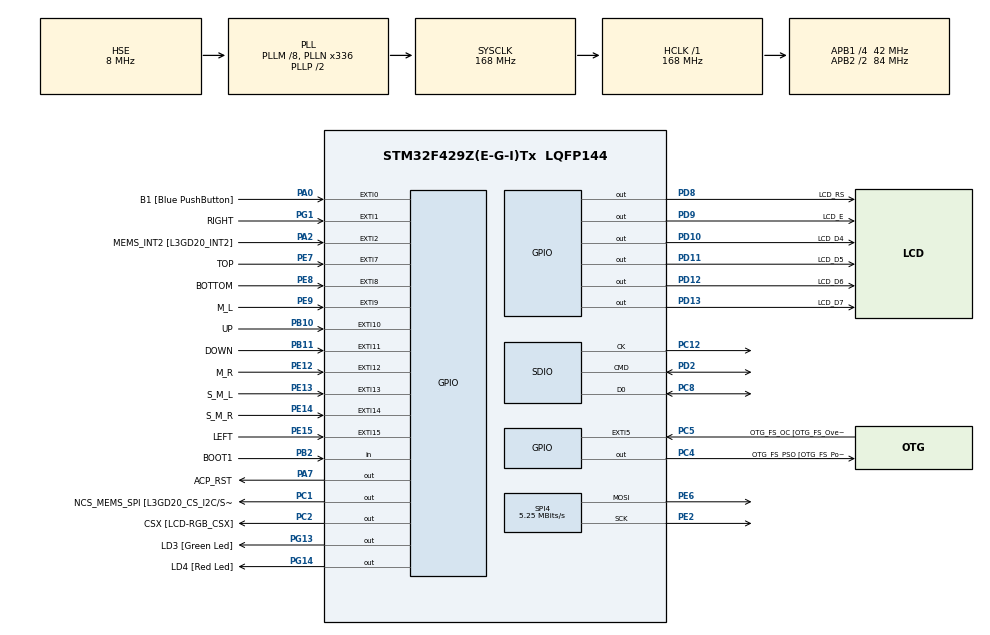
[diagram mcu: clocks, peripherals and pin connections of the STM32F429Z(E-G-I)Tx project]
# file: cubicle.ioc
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FREERTOS.Tasks01=defaultTask,0,128,StartDefaultTask;myTask02,2,128,StartTask02
Mcu.Family=STM32F4
Mcu.Name=STM32F429Z(E-G-I)Tx
Mcu.Package=LQFP144
NVIC.EXTI0_IRQn=true\:5\:0\:false
NVIC.EXTI15_10_IRQn=true\:5\:0\:false
NVIC.EXTI1_IRQn=true\:5\:0\:false
NVIC.EXTI9_5_IRQn=true\:5\:0\:false
NVIC.PriorityGroup=NVIC_PRIORITYGROUP_4
PA0/WKUP.GPIO_Label=B1 [Blue PushButton]
PA0/WKUP.GPIO_ModeDefaultEXTI=GPIO_MODE_IT_RISING_FALLING
PA0/WKUP.GPIO_PuPd=GPIO_NOPULL
PA0/WKUP.Signal=GPXTI0
PA11.GPIO_Label=R4
PA11.GPIO_Mode=GPIO_MODE_AF_PP
PA11.GPIO_PuPd=GPIO_NOPULL
PA11.GPIO_Speed=GPIO_SPEED_LOW
PA11.Signal=LTDC_R4
PA12.GPIO_Label=R5
PA12.GPIO_Mode=GPIO_MODE_AF_PP
PA12.GPIO_PuPd=GPIO_NOPULL
PA12.GPIO_Speed=GPIO_SPEED_LOW
PA12.Signal=LTDC_R5
PA13.GPIO_Label=SWDIO
PA13.Mode=Serial-Wire
PA13.Signal=SYS_JTMS-SWDIO
PA14.GPIO_Label=SWCLK
PA14.Mode=Serial-Wire
PA14.Signal=SYS_JTCK-SWCLK
PA2.GPIO_Label=MEMS_INT2 [L3GD20_INT2]
PA2.GPIO_ModeDefaultEXTI=GPIO_MODE_EVT_RISING
PA2.GPIO_PuPd=GPIO_NOPULL
PA2.Signal=GPXTI2
PA3.GPIO_Label=B5
PA3.GPIO_Mode=GPIO_MODE_AF_PP
PA3.GPIO_PuPd=GPIO_NOPULL
PA3.GPIO_Speed=GPIO_SPEED_LOW
PA3.Signal=LTDC_B5
PA4.GPIO_Label=VSYNC
PA4.GPIO_Mode=GPIO_MODE_AF_PP
PA4.GPIO_PuPd=GPIO_NOPULL
PA4.GPIO_Speed=GPIO_SPEED_LOW
PA4.Signal=LTDC_VSYNC
PA6.GPIO_Label=G2
PA6.GPIO_Mode=GPIO_MODE_AF_PP
PA6.GPIO_PuPd=GPIO_NOPULL
PA6.GPIO_Speed=GPIO_SPEED_LOW
PA6.Signal=LTDC_G2
PA7.GPIO_Label=ACP_RST
PA7.GPIO_Mode=GPIO_MODE_OUTPUT_PP
PA7.GPIO_ModeDefaultOutputPP=GPIO_MODE_OUTPUT_PP
PA7.GPIO_PuPd=GPIO_NOPULL
PA7.GPIO_Speed=GPIO_SPEED_LOW
PA7.Signal=GPIO_Output
PA8.GPIO_Label=I2C3_SCL [ACP/RF_SCL]
PA8.GPIO_Mode=GPIO_MODE_AF_OD
PA8.GPIO_PuPd=GPIO_NOPULL
PA8.GPIO_PuPdOD=GPIO_PULLUP
PA8.GPIO_Speed=GPIO_SPEED_LOW
PA8.Signal=I2C3_SCL
PB0.GPIO_Label=R3
PB0.GPIO_Mode=GPIO_MODE_AF_PP
PB0.GPIO_PuPd=GPIO_NOPULL
PB0.GPIO_Speed=GPIO_SPEED_LOW
PB0.Signal=LTDC_R3
PB1.GPIO_Label=R6
PB1.GPIO_Mode=GPIO_MODE_AF_PP
PB1.GPIO_PuPd=GPIO_NOPULL
PB1.GPIO_Speed=GPIO_SPEED_LOW
PB1.Signal=LTDC_R6
PB10.GPIO_Label=UP
PB10.GPIO_ModeDefaultEXTI=GPIO_MODE_IT_RISING_FALLING
PB10.GPIO_PuPd=GPIO_PULLUP
PB10.Signal=GPXTI10
PB11.GPIO_Label=DOWN
PB11.GPIO_ModeDefaultEXTI=GPIO_MODE_IT_RISING_FALLING
PB11.GPIO_PuPd=GPIO_PULLUP
PB11.Signal=GPXTI11
PB12.GPIO_Label=OTG_FS_ID
PB12.GPIO_Mode=GPIO_MODE_AF_PP
PB12.GPIO_PuPd=GPIO_NOPULL
PB12.GPIO_Speed=GPIO_SPEED_LOW
PB12.Signal=USB_OTG_HS_ID
PB13.GPIO_Label=VBUS_FS
PB13.GPIO_Mode=GPIO_MODE_INPUT
PB13.GPIO_PuPd=GPIO_NOPULL
PB13.Signal=USB_OTG_HS_VBUS
PB14.GPIO_Label=OTG_FS_DM
PB14.GPIO_Mode=GPIO_MODE_AF_PP
PB14.GPIO_PuPd=GPIO_NOPULL
PB14.GPIO_Speed=GPIO_SPEED_LOW
PB14.Signal=USB_OTG_HS_DM
PB15.GPIO_Label=OTG_FS_DP
PB15.GPIO_Mode=GPIO_MODE_AF_PP
PB15.GPIO_PuPd=GPIO_NOPULL
PB15.GPIO_Speed=GPIO_SPEED_LOW
PB15.Signal=USB_OTG_HS_DP
PB2/BOOT1.GPIO_Label=BOOT1
PB2/BOOT1.GPIO_Mode=GPIO_MODE_INPUT
PB2/BOOT1.GPIO_PuPd=GPIO_NOPULL
PB2/BOOT1.Signal=GPIO_Input
PB5.GPIO_Label=SDCKE1
PB5.GPIO_Mode=GPIO_MODE_AF_PP
PB5.GPIO_PuPd=GPIO_NOPULL
PB5.GPIO_Speed=GPIO_SPEED_HIGH
PB5.Signal=FMC_SDCKE1
PB6.GPIO_Label=SDNE1 [SDRAM_CS]
PB6.GPIO_Mode=GPIO_MODE_AF_PP
PB6.GPIO_PuPd=GPIO_NOPULL
PB6.GPIO_Speed=GPIO_SPEED_HIGH
PB6.Signal=FMC_SDNE1
PB8.Signal=SDIO_D4
PB9.Signal=SDIO_D5
PC0.GPIO_Label=SDNWE
PC0.GPIO_Mode=GPIO_MODE_AF_PP
PC0.GPIO_PuPd=GPIO_NOPULL
PC0.GPIO_Speed=GPIO_SPEED_HIGH
PC0.Signal=FMC_SDNWE
PC1.GPIO_Label=NCS_MEMS_SPI [L3GD20_CS_I2C/SPI]
PC1.GPIO_Mode=GPIO_MODE_OUTPUT_PP
PC1.GPIO_ModeDefaultOutputPP=GPIO_MODE_OUTPUT_PP
PC1.GPIO_PuPd=GPIO_NOPULL
PC1.GPIO_Speed=GPIO_SPEED_LOW
PC1.Signal=GPIO_Output
PC10.GPIO_Mode=GPIO_MODE_AF_PP
PC10.GPIO_PuPd=GPIO_PULLUP
PC10.GPIO_Speed=GPIO_SPEED_LOW
PC10.Signal=SDIO_D2
PC12.Mode=SD_1_bit
PC12.Signal=SDIO_CK
PC14/OSC32_IN.GPIO_Label=PC14-OSC32_IN
PC14/OSC32_IN.Signal=RCC_OSC32_IN
PC15/OSC32_OUT.GPIO_Label=PC15-OSC32_OUT
PC15/OSC32_OUT.Signal=RCC_OSC32_OUT
PC2.GPIO_Label=CSX [LCD-RGB_CSX]
PC2.GPIO_Mode=GPIO_MODE_OUTPUT_PP
PC2.GPIO_ModeDefaultOutputPP=GPIO_MODE_OUTPUT_PP
PC2.GPIO_PuPd=GPIO_NOPULL
PC2.GPIO_Speed=GPIO_SPEED_LOW
PC2.Signal=GPIO_Output
PC4.GPIO_Label=OTG_FS_PSO [OTG_FS_PowerSwitchOn]
PC4.GPIO_Mode=GPIO_MODE_OUTPUT_PP
PC4.GPIO_ModeDefaultOutputPP=GPIO_MODE_OUTPUT_PP
PC4.GPIO_PuPd=GPIO_NOPULL
PC4.GPIO_Speed=GPIO_SPEED_LOW
PC4.Signal=GPIO_Output
PC5.GPIO_Label=OTG_FS_OC [OTG_FS_OverCurrent]
PC5.GPIO_ModeDefaultEXTI=GPIO_MODE_EVT_RISING
PC5.GPIO_PuPd=GPIO_NOPULL
PC5.Signal=GPXTI5
PC6.Signal=SDIO_D6
PC7.Signal=SDIO_D7
PC8.Mode=SD_1_bit
PC8.Signal=SDIO_D0
PC9.GPIO_Mode=GPIO_MODE_AF_PP
PC9.GPIO_PuPd=GPIO_PULLUP
PC9.GPIO_Speed=GPIO_SPEED_LOW
PC9.Signal=SDIO_D1
PD0.GPIO_Label=D2
PD0.GPIO_Mode=GPIO_MODE_AF_PP
PD0.GPIO_PuPd=GPIO_NOPULL
PD0.GPIO_Speed=GPIO_SPEED_HIGH
PD0.Signal=FMC_D2_DA2
PD1.GPIO_Label=D3
PD1.GPIO_Mode=GPIO_MODE_AF_PP
PD1.GPIO_PuPd=GPIO_NOPULL
PD1.GPIO_Speed=GPIO_SPEED_HIGH
PD1.Signal=FMC_D3_DA3
PD10.GPIO_Label=LCD_D4
PD10.GPIO_ModeDefaultOutputPP=GPIO_MODE_OUTPUT_PP
PD10.GPIO_PuPd=GPIO_NOPULL
PD10.GPIO_Speed=GPIO_SPEED_LOW
PD10.Signal=GPIO_Output
PD11.GPIO_Label=LCD_D5
PD11.GPIO_ModeDefaultOutputPP=GPIO_MODE_OUTPUT_PP
PD11.GPIO_PuPd=GPIO_NOPULL
PD11.GPIO_Speed=GPIO_SPEED_LOW
PD11.Signal=GPIO_Output
PD12.GPIO_Label=LCD_D6
PD12.GPIO_ModeDefaultOutputPP=GPIO_MODE_OUTPUT_PP
PD12.GPIO_PuPd=GPIO_NOPULL
PD12.GPIO_Speed=GPIO_SPEED_LOW
PD12.Signal=GPIO_Output
PD13.GPIO_Label=LCD_D7
PD13.GPIO_ModeDefaultOutputPP=GPIO_MODE_OUTPUT_PP
PD13.GPIO_PuPd=GPIO_NOPULL
PD13.GPIO_Speed=GPIO_SPEED_LOW
PD13.Signal=GPIO_Output
PD14.GPIO_Label=D0
PD14.GPIO_Mode=GPIO_MODE_AF_PP
PD14.GPIO_PuPd=GPIO_NOPULL
PD14.GPIO_Speed=GPIO_SPEED_HIGH
PD14.Signal=FMC_D0_DA0
PD15.GPIO_Label=D1
PD15.GPIO_Mode=GPIO_MODE_AF_PP
PD15.GPIO_PuPd=GPIO_NOPULL
PD15.GPIO_Speed=GPIO_SPEED_HIGH
PD15.Signal=FMC_D1_DA1
PD2.Mode=SD_1_bit
PD2.Signal=SDIO_CMD
PD3.GPIO_Label=G7
PD3.GPIO_Mode=GPIO_MODE_AF_PP
PD3.GPIO_PuPd=GPIO_NOPULL
PD3.GPIO_Speed=GPIO_SPEED_LOW
PD3.Signal=LTDC_G7
PD6.GPIO_Label=B2
PD6.GPIO_Mode=GPIO_MODE_AF_PP
PD6.GPIO_PuPd=GPIO_NOPULL
PD6.GPIO_Speed=GPIO_SPEED_LOW
PD6.Signal=LTDC_B2
PD8.GPIO_Label=LCD_RS
PD8.GPIO_ModeDefaultOutputPP=GPIO_MODE_OUTPUT_PP
PD8.GPIO_PuPd=GPIO_NOPULL
PD8.GPIO_Speed=GPIO_SPEED_LOW
PD8.Signal=GPIO_Output
PD9.GPIO_Label=LCD_E
PD9.GPIO_ModeDefaultOutputPP=GPIO_MODE_OUTPUT_PP
PD9.GPIO_PuPd=GPIO_NOPULL
PD9.GPIO_Speed=GPIO_SPEED_LOW
PD9.Signal=GPIO_Output
PE0.GPIO_Label=NBL0 [SDRAM_LDQM]
PE0.GPIO_Mode=GPIO_MODE_AF_PP
PE0.GPIO_PuPd=GPIO_NOPULL
PE0.GPIO_Speed=GPIO_SPEED_HIGH
PE0.Signal=FMC_NBL0
PE1.GPIO_Label=NBL1 [SDRAM_UDQM]
PE1.GPIO_Mode=GPIO_MODE_AF_PP
PE1.GPIO_PuPd=GPIO_NOPULL
PE1.GPIO_Speed=GPIO_SPEED_HIGH
PE1.Signal=FMC_NBL1
PE12.GPIO_Label=M_R
PE12.GPIO_ModeDefaultEXTI=GPIO_MODE_IT_RISING_FALLING
PE12.GPIO_PuPd=GPIO_PULLUP
PE12.Signal=GPXTI12
PE13.GPIO_Label=S_M_L
PE13.GPIO_ModeDefaultEXTI=GPIO_MODE_IT_RISING_FALLING
PE13.GPIO_PuPd=GPIO_PULLUP
PE13.Signal=GPXTI13
PE14.GPIO_Label=S_M_R
PE14.GPIO_ModeDefaultEXTI=GPIO_MODE_IT_RISING_FALLING
PE14.GPIO_PuPd=GPIO_PULLUP
PE14.Signal=GPXTI14
PE15.GPIO_Label=LEFT
PE15.GPIO_ModeDefaultEXTI=GPIO_MODE_IT_RISING_FALLING
PE15.GPIO_PuPd=GPIO_PULLUP
PE15.Signal=GPXTI15
PE2.Mode=TX_Only_Simplex_Unidirect_Master
PE2.Signal=SPI4_SCK
PE6.Mode=TX_Only_Simplex_Unidirect_Master
PE6.Signal=SPI4_MOSI
PE7.GPIO_Label=TOP
PE7.GPIO_ModeDefaultEXTI=GPIO_MODE_IT_RISING_FALLING
PE7.GPIO_PuPd=GPIO_PULLUP
PE7.Signal=GPXTI7
PE8.GPIO_Label=BOTTOM
PE8.GPIO_ModeDefaultEXTI=GPIO_MODE_IT_RISING_FALLING
PE8.GPIO_PuPd=GPIO_PULLUP
PE8.Signal=GPXTI8
PE9.GPIO_Label=M_L
PE9.GPIO_ModeDefaultEXTI=GPIO_MODE_IT_RISING_FALLING
PE9.GPIO_PuPd=GPIO_PULLUP
PE9.Signal=GPXTI9
PF0.GPIO_Label=A0
PF0.GPIO_Mode=GPIO_MODE_AF_PP
PF0.GPIO_PuPd=GPIO_NOPULL
PF0.GPIO_Speed=GPIO_SPEED_HIGH
PF0.Signal=FMC_A0
PF1.GPIO_Label=A1
PF1.GPIO_Mode=GPIO_MODE_AF_PP
PF1.GPIO_PuPd=GPIO_NOPULL
PF1.GPIO_Speed=GPIO_SPEED_HIGH
PF1.Signal=FMC_A1
PF10.GPIO_Label=ENABLE [LCD-RGB_ENABLE]
PF10.GPIO_Mode=GPIO_MODE_AF_PP
PF10.GPIO_PuPd=GPIO_NOPULL
PF10.GPIO_Speed=GPIO_SPEED_LOW
PF10.Signal=LTDC_DE
PF11.GPIO_Label=SDNRAS
PF11.GPIO_Mode=GPIO_MODE_AF_PP
PF11.GPIO_PuPd=GPIO_NOPULL
PF11.GPIO_Speed=GPIO_SPEED_HIGH
PF11.Signal=FMC_SDNRAS
PF12.GPIO_Label=A6
PF12.GPIO_Mode=GPIO_MODE_AF_PP
PF12.GPIO_PuPd=GPIO_NOPULL
PF12.GPIO_Speed=GPIO_SPEED_HIGH
PF12.Signal=FMC_A6
PF13.GPIO_Label=A7
PF13.GPIO_Mode=GPIO_MODE_AF_PP
PF13.GPIO_PuPd=GPIO_NOPULL
PF13.GPIO_Speed=GPIO_SPEED_HIGH
PF13.Signal=FMC_A7
PF14.GPIO_Label=A8
PF14.GPIO_Mode=GPIO_MODE_AF_PP
PF14.GPIO_PuPd=GPIO_NOPULL
PF14.GPIO_Speed=GPIO_SPEED_HIGH
PF14.Signal=FMC_A8
PF15.GPIO_Label=A9
PF15.GPIO_Mode=GPIO_MODE_AF_PP
PF15.GPIO_PuPd=GPIO_NOPULL
PF15.GPIO_Speed=GPIO_SPEED_HIGH
PF15.Signal=FMC_A9
PF2.GPIO_Label=A2
PF2.GPIO_Mode=GPIO_MODE_AF_PP
PF2.GPIO_PuPd=GPIO_NOPULL
PF2.GPIO_Speed=GPIO_SPEED_HIGH
PF2.Signal=FMC_A2
PF3.GPIO_Label=A3
PF3.GPIO_Mode=GPIO_MODE_AF_PP
PF3.GPIO_PuPd=GPIO_NOPULL
PF3.GPIO_Speed=GPIO_SPEED_HIGH
PF3.Signal=FMC_A3
PF4.GPIO_Label=A4
PF4.GPIO_Mode=GPIO_MODE_AF_PP
PF4.GPIO_PuPd=GPIO_NOPULL
PF4.GPIO_Speed=GPIO_SPEED_HIGH
PF4.Signal=FMC_A4
PF5.GPIO_Label=A5
PF5.GPIO_Mode=GPIO_MODE_AF_PP
PF5.GPIO_PuPd=GPIO_NOPULL
PF5.GPIO_Speed=GPIO_SPEED_HIGH
PF5.Signal=FMC_A5
PF7.GPIO_Label=SPI5_SCK [L3GD20_SCL/SPC]
PF7.GPIO_Mode=GPIO_MODE_AF_PP
PF7.GPIO_PuPd=GPIO_NOPULL
PF7.GPIO_Speed=GPIO_SPEED_LOW
PF7.Signal=SPI5_SCK
PF8.GPIO_Label=SPI5_MISO [L3GD20_SDO]
PF8.GPIO_Mode=GPIO_MODE_AF_PP
PF8.GPIO_PuPd=GPIO_NOPULL
PF8.GPIO_Speed=GPIO_SPEED_LOW
PF8.Signal=SPI5_MISO
PF9.GPIO_Label=SPI5_MOSI [L3GD20_SDA/SDI/SDO]
PF9.GPIO_Mode=GPIO_MODE_AF_PP
PF9.GPIO_PuPd=GPIO_NOPULL
PF9.GPIO_Speed=GPIO_SPEED_LOW
PF9.Signal=SPI5_MOSI
PG0.GPIO_Label=A10
PG0.GPIO_Mode=GPIO_MODE_AF_PP
PG0.GPIO_PuPd=GPIO_NOPULL
PG0.GPIO_Speed=GPIO_SPEED_HIGH
PG0.Signal=FMC_A10
PG1.GPIO_Label=RIGHT
PG1.GPIO_ModeDefaultEXTI=GPIO_MODE_IT_RISING_FALLING
PG1.GPIO_PuPd=GPIO_PULLUP
PG1.Signal=GPXTI1
PG10.GPIO_Label=G3
PG10.GPIO_Mode=GPIO_MODE_AF_PP
PG10.GPIO_PuPd=GPIO_NOPULL
PG10.GPIO_Speed=GPIO_SPEED_LOW
PG10.Signal=LTDC_G3
PG11.GPIO_Label=B3
PG11.GPIO_Mode=GPIO_MODE_AF_PP
PG11.GPIO_PuPd=GPIO_NOPULL
PG11.GPIO_Speed=GPIO_SPEED_LOW
PG11.Signal=LTDC_B3
PG12.GPIO_Label=B4
PG12.GPIO_Mode=GPIO_MODE_AF_PP
PG12.GPIO_PuPd=GPIO_NOPULL
PG12.GPIO_Speed=GPIO_SPEED_LOW
PG12.Signal=LTDC_B4
PG13.GPIO_Label=LD3 [Green Led]
PG13.GPIO_Mode=GPIO_MODE_OUTPUT_PP
PG13.GPIO_ModeDefaultOutputPP=GPIO_MODE_OUTPUT_PP
PG13.GPIO_PuPd=GPIO_NOPULL
PG13.GPIO_Speed=GPIO_SPEED_LOW
PG13.Signal=GPIO_Output
PG14.GPIO_Label=LD4 [Red Led]
PG14.GPIO_Mode=GPIO_MODE_OUTPUT_PP
PG14.GPIO_ModeDefaultOutputPP=GPIO_MODE_OUTPUT_PP
PG14.GPIO_PuPd=GPIO_NOPULL
PG14.GPIO_Speed=GPIO_SPEED_LOW
PG14.Signal=GPIO_Output
PG15.GPIO_Label=SDNCAS
PG15.GPIO_Mode=GPIO_MODE_AF_PP
PG15.GPIO_PuPd=GPIO_NOPULL
PG15.GPIO_Speed=GPIO_SPEED_HIGH
PG15.Signal=FMC_SDNCAS
PG4.GPIO_Label=BA0
PG4.GPIO_Mode=GPIO_MODE_AF_PP
PG4.GPIO_PuPd=GPIO_NOPULL
PG4.GPIO_Speed=GPIO_SPEED_HIGH
PG4.Signal=FMC_A14_BA0
PG5.GPIO_Label=BA1
PG5.GPIO_Mode=GPIO_MODE_AF_PP
PG5.GPIO_PuPd=GPIO_NOPULL
PG5.GPIO_Speed=GPIO_SPEED_HIGH
PG5.Signal=FMC_A15_BA1
PG6.GPIO_Label=R7
PG6.GPIO_Mode=GPIO_MODE_AF_PP
PG6.GPIO_PuPd=GPIO_NOPULL
PG6.GPIO_Speed=GPIO_SPEED_LOW
PG6.Signal=LTDC_R7
PG7.GPIO_Label=DOTCLK [LCT-RGB_DOTCLK]
PG7.GPIO_Mode=GPIO_MODE_AF_PP
PG7.GPIO_PuPd=GPIO_NOPULL
PG7.GPIO_Speed=GPIO_SPEED_LOW
PG7.Signal=LTDC_CLK
PG8.GPIO_Label=SDCLK
PG8.GPIO_Mode=GPIO_MODE_AF_PP
PG8.GPIO_PuPd=GPIO_NOPULL
PG8.GPIO_Speed=GPIO_SPEED_HIGH
PG8.Signal=FMC_SDCLK
PH0/OSC_IN.GPIO_Label=PH0-OSC_IN
PH0/OSC_IN.Mode=HSE-External-Oscillator
PH0/OSC_IN.Signal=RCC_OSC_IN
PH1/OSC_OUT.GPIO_Label=PH1-OSC_OUT
PH1/OSC_OUT.Mode=HSE-External-Oscillator
PH1/OSC_OUT.Signal=RCC_OSC_OUT
ProjectManager.TargetToolchain=SW4STM32
RCC.48MHZClocksFreq_Value=48000000
RCC.AHBFreq_Value=168000000
RCC.APB1CLKDivider=RCC_HCLK_DIV4
RCC.APB1Freq_Value=42000000
RCC.APB1TimFreq_Value=84000000
RCC.APB2CLKDivider=RCC_HCLK_DIV2
RCC.APB2Freq_Value=84000000
RCC.APB2TimFreq_Value=168000000
RCC.CortexFreq_Value=168000000
RCC.HCLKFreq_Value=168000000
RCC.HSE_VALUE=8000000
RCC.HSI_VALUE=16000000
RCC.LSE_VALUE=32768
RCC.PLLM=8
RCC.PLLN=336
RCC.PLLQ=7
RCC.PLLSourceVirtual=RCC_PLLSOURCE_HSE
RCC.SYSCLKFreq_VALUE=168000000
RCC.SYSCLKSource=RCC_SYSCLKSOURCE_PLLCLK
RCC.VCOOutputFreq_Value=336000000
SDIO.BusWide=SDIO_BUS_WIDE_1B
SH.FMC_A0.0=FMC_A0
SH.FMC_A1.0=FMC_A1
SH.FMC_A10.0=FMC_A10
SH.FMC_A14_BA0.0=FMC_BA0
SH.FMC_A15_BA1.0=FMC_BA1
SH.FMC_A2.0=FMC_A2
SH.FMC_A3.0=FMC_A3
SH.FMC_A4.0=FMC_A4
SH.FMC_A5.0=FMC_A5
SH.FMC_A6.0=FMC_A6
SH.FMC_A7.0=FMC_A7
SH.FMC_A8.0=FMC_A8
SH.FMC_A9.0=FMC_A9
SH.FMC_D0_DA0.0=FMC_D0
SH.FMC_D1_DA1.0=FMC_D1
SH.FMC_D2_DA2.0=FMC_D2
SH.FMC_D3_DA3.0=FMC_D3
SH.FMC_NBL0.0=FMC_NBL0
SH.FMC_NBL1.0=FMC_NBL1
SH.FMC_SDCLK.0=FMC_SDCLK
SH.FMC_SDNCAS.0=FMC_SDNCAS
SH.FMC_SDNRAS.0=FMC_SDNRAS
SH.FMC_SDNWE.0=FMC_SDNWE
SPI4.BaudRatePrescaler=SPI_BAUDRATEPRESCALER_16
SPI4.CalculateBaudRate=5.25 MBits/s
SPI4.DataSize=SPI_DATASIZE_16BIT
SPI4.Mode=SPI_MODE_MASTER
VP_FREERTOS_VS_ENABLE.Mode=Enabled

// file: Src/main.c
/**
  ******************************************************************************
  * File Name          : main.c
  * Date               : 22/05/2015 16:33:36
  * Description        : Main program body
  ******************************************************************************
  *
  * COPYRIGHT(c) 2015 STMicroelectronics
  *
  * Redistribution and use in source and binary forms, with or without modification,
  * are permitted provided that the following conditions are met:
  *   1. Redistributions of source code must retain the above copyright notice,
  *      this list of conditions and the following disclaimer.
  *   2. Redistributions in binary form must reproduce the above copyright notice,
  *      this list of conditions and the following disclaimer in the documentation
  *      and/or other materials provided with the distribution.
  *   3. Neither the name of STMicroelectronics nor the names of its contributors
  *      may be used to endorse or promote products derived from this software
  *      without specific prior written permission.
  *
  * THIS SOFTWARE IS PROVIDED BY THE COPYRIGHT HOLDERS AND CONTRIBUTORS "AS IS"
  * AND ANY EXPRESS OR IMPLIED WARRANTIES, INCLUDING, BUT NOT LIMITED TO, THE
  * IMPLIED WARRANTIES OF MERCHANTABILITY AND FITNESS FOR A PARTICULAR PURPOSE ARE
  * DISCLAIMED. IN NO EVENT SHALL THE COPYRIGHT HOLDER OR CONTRIBUTORS BE LIABLE
  * FOR ANY DIRECT, INDIRECT, INCIDENTAL, SPECIAL, EXEMPLARY, OR CONSEQUENTIAL
  * DAMAGES (INCLUDING, BUT NOT LIMITED TO, PROCUREMENT OF SUBSTITUTE GOODS OR
  * SERVICES; LOSS OF USE, DATA, OR PROFITS; OR BUSINESS INTERRUPTION) HOWEVER
  * CAUSED AND ON ANY THEORY OF LIABILITY, WHETHER IN CONTRACT, STRICT LIABILITY,
  * OR TORT (INCLUDING NEGLIGENCE OR OTHERWISE) ARISING IN ANY WAY OUT OF THE USE
  * OF THIS SOFTWARE, EVEN IF ADVISED OF THE POSSIBILITY OF SUCH DAMAGE.
  *
  ******************************************************************************
  */

#include "stm32f4xx_hal.h"
#include "cmsis_os.h"
#include "fatfs.h"
#include "sdio.h"
#include "spi.h"
#include "gpio.h"

/* USER CODE BEGIN Includes */
#include "stm32f4xx_hal_conf.h"
#include "CUB.h"
/* USER CODE END Includes */

void SystemClock_Config(void);
void MX_FREERTOS_Init(void);

int main(void)
{

  /* MCU Configuration----------------------------------------------------------*/

  /* Reset of all peripherals, Initializes the Flash interface and the Systick. */
  HAL_Init();

  /* Configure the system clock */
  SystemClock_Config();

  /* Initialize all configured peripherals */
  MX_GPIO_Init();
  MX_SDIO_SD_Init();
  MX_SPI4_Init();

  /* Call init function for freertos objects (in freertos.c) */
  MX_FREERTOS_Init();

  /* Start scheduler */
  osKernelStart();

  /* We should never get here as control is now taken by the scheduler */

  /* Infinite loop */
	    while (1)
 {

}

}

/** System Clock Configuration
*/
void SystemClock_Config(void)
{

  RCC_OscInitTypeDef RCC_OscInitStruct;
  RCC_ClkInitTypeDef RCC_ClkInitStruct;

  __PWR_CLK_ENABLE();

  __HAL_PWR_VOLTAGESCALING_CONFIG(PWR_REGULATOR_VOLTAGE_SCALE1);

  RCC_OscInitStruct.OscillatorType = RCC_OSCILLATORTYPE_HSE;
  RCC_OscInitStruct.HSEState = RCC_HSE_ON;
  RCC_OscInitStruct.PLL.PLLState = RCC_PLL_ON;
  RCC_OscInitStruct.PLL.PLLSource = RCC_PLLSOURCE_HSE;
  RCC_OscInitStruct.PLL.PLLM = 8;
  RCC_OscInitStruct.PLL.PLLN = 336;
  RCC_OscInitStruct.PLL.PLLP = RCC_PLLP_DIV2;
  RCC_OscInitStruct.PLL.PLLQ = 7;
  HAL_RCC_OscConfig(&RCC_OscInitStruct);

  RCC_ClkInitStruct.ClockType = RCC_CLOCKTYPE_SYSCLK|RCC_CLOCKTYPE_PCLK1
                              |RCC_CLOCKTYPE_PCLK2;
  RCC_ClkInitStruct.SYSCLKSource = RCC_SYSCLKSOURCE_PLLCLK;
  RCC_ClkInitStruct.AHBCLKDivider = RCC_SYSCLK_DIV1;
  RCC_ClkInitStruct.APB1CLKDivider = RCC_HCLK_DIV4;
  RCC_ClkInitStruct.APB2CLKDivider = RCC_HCLK_DIV2;
  HAL_RCC_ClockConfig(&RCC_ClkInitStruct, FLASH_LATENCY_5);

}

/* USER CODE BEGIN 4 */
//void HAL_GPIO_EXTI_Callback(uint16_t GPIO_Pin) {
//    HAL_GPIO_WritePin(GPIOE, GPIO_PIN_3, GPIO_PIN_SET);
//    HAL_GPIO_WritePin(GPIOG, GPIO_PIN_13, GPIO_PIN_SET);
//    for (int i=0; i < 1000; i++) ;
//    HAL_GPIO_WritePin(GPIOE, GPIO_PIN_3, GPIO_PIN_RESET);
//    HAL_GPIO_WritePin(GPIOG, GPIO_PIN_13, GPIO_PIN_RESET);
//}
/* USER CODE END 4 */

/************************ (C) COPYRIGHT STMicroelectronics *****END OF FILE****/

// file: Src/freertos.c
/**
  ******************************************************************************
  * File Name          : freertos.c
  * Date               : 29/05/2015 10:25:40
  * Description        : Code for freertos applications
  ******************************************************************************
  *
  * COPYRIGHT(c) 2015 STMicroelectronics
  *
  * Redistribution and use in source and binary forms, with or without modification,
  * are permitted provided that the following conditions are met:
  *   1. Redistributions of source code must retain the above copyright notice,
  *      this list of conditions and the following disclaimer.
  *   2. Redistributions in binary form must reproduce the above copyright notice,
  *      this list of conditions and the following disclaimer in the documentation
  *      and/or other materials provided with the distribution.
  *   3. Neither the name of STMicroelectronics nor the names of its contributors
  *      may be used to endorse or promote products derived from this software
  *      without specific prior written permission.
  *
  * THIS SOFTWARE IS PROVIDED BY THE COPYRIGHT HOLDERS AND CONTRIBUTORS "AS IS"
  * AND ANY EXPRESS OR IMPLIED WARRANTIES, INCLUDING, BUT NOT LIMITED TO, THE
  * IMPLIED WARRANTIES OF MERCHANTABILITY AND FITNESS FOR A PARTICULAR PURPOSE ARE
  * DISCLAIMED. IN NO EVENT SHALL THE COPYRIGHT HOLDER OR CONTRIBUTORS BE LIABLE
  * FOR ANY DIRECT, INDIRECT, INCIDENTAL, SPECIAL, EXEMPLARY, OR CONSEQUENTIAL
  * DAMAGES (INCLUDING, BUT NOT LIMITED TO, PROCUREMENT OF SUBSTITUTE GOODS OR
  * SERVICES; LOSS OF USE, DATA, OR PROFITS; OR BUSINESS INTERRUPTION) HOWEVER
  * CAUSED AND ON ANY THEORY OF LIABILITY, WHETHER IN CONTRACT, STRICT LIABILITY,
  * OR TORT (INCLUDING NEGLIGENCE OR OTHERWISE) ARISING IN ANY WAY OUT OF THE USE
  * OF THIS SOFTWARE, EVEN IF ADVISED OF THE POSSIBILITY OF SUCH DAMAGE.
  *
  ******************************************************************************
  */

#include "FreeRTOS.h"
#include "task.h"
#include "cmsis_os.h"

/* USER CODE BEGIN Includes */
#include "spi.h"
#include <stdint.h>
#include "stm32f4xx_hal_conf.h"
#include "CUB.h"
#include "fatfs.h"
/* USER CODE END Includes */

osThreadId defaultTaskHandle;
osThreadId myTask02Handle;

/* USER CODE BEGIN Variables */
#define SPI_TIMEOUT 15
/* USER CODE END Variables */

void StartDefaultTask(void const * argument);
void StartTask02(void const * argument);

extern void MX_FATFS_Init(void);
void MX_FREERTOS_Init(void); /* (MISRA C 2004 rule 8.1) */

/* Hook prototypes */

/* Init FreeRTOS */

void MX_FREERTOS_Init(void) {
  /* USER CODE BEGIN Init */
	CUB_Init();

  /* USER CODE END Init */

  /* Create the thread(s) */
  /* definition and creation of defaultTask */
  osThreadDef(defaultTask, StartDefaultTask, osPriorityNormal, 0, 128);
  defaultTaskHandle = osThreadCreate(osThread(defaultTask), NULL);

  /* definition and creation of myTask02 */
  osThreadDef(myTask02, StartTask02, osPriorityHigh, 0, 128);
  //myTask02Handle = osThreadCreate(osThread(myTask02), NULL);

}

/* StartDefaultTask function */
void StartDefaultTask(void const * argument)
{
  /* init code for FATFS */
  MX_FATFS_Init();

  /* USER CODE BEGIN StartDefaultTask */
    CUB_ApplicationRun();
    /* Infinite loop */
    for(;;)
    {
        HAL_GPIO_TogglePin(GPIOG, GPIO_PIN_13);
        osDelay(3000);
    }
  /* USER CODE END StartDefaultTask */
}

/* StartTask02 function */
void StartTask02(void const * argument)
{
  /* USER CODE BEGIN StartTask02 */
    HAL_GPIO_WritePin(GPIOE, GPIO_PIN_13, GPIO_PIN_SET);
    uint8_t pData0[] = {
                       0b00000000, 0b00000000, // 1ère rangée de colones
                       0b00000000, 0b00000000, // 2ème rangée de colones
                       0b00000000, 0b00000000, // 3ème rangée de colones
                       0b00000000, 0b00000000, // 4ème rangée de colones
                       0b00000000, 0b00000000, // 5ème rangée de colones
                       0b00000000, 0b00000000, // 6ème rangée de colones
                       0b00000000, 0b00000000, // 7ème rangée de colones
                       0b00000000, 0b00000000, // 8ème rangée de colones
                       0b00000000, 0b00000000, // 9ème rangée de colones
                       0b00000000, 0b00000001  // Selection plan
                      };
    uint8_t pData1[] = {
                       0b00000000, 0b00000000, // 1ère rangée de colones
                       0b00000000, 0b00000000, // 2ème rangée de colones
                       0b00000000, 0b00000000, // 3ème rangée de colones
                       0b00000001, 0b11111111, // 4ème rangée de colones
                       0b00000001, 0b11111111, // 5ème rangée de colones
                       0b00000001, 0b11111111, // 6ème rangée de colones
                       0b00000000, 0b00000000, // 7ème rangée de colones
                       0b00000000, 0b00000000, // 8ème rangée de colones
                       0b00000000, 0b00000000, // 9ème rangée de colones
                       0b00000000, 0b00000010  // Selection plan
                      };
    uint8_t pData2[] = {
                       0b00000000, 0b00000000, // 1ère rangée de colones
                       0b00000000, 0b00000000, // 2ème rangée de colones
                       0b00000001, 0b11111111, // 3ème rangée de colones
                       0b00000000, 0b00000000, // 4ème rangée de colones
                       0b00000000, 0b00000000, // 5ème rangée de colones
                       0b00000000, 0b00000000, // 6ème rangée de colones
                       0b00000001, 0b11111111, // 7ème rangée de colones
                       0b00000000, 0b00000000, // 8ème rangée de colones
                       0b00000000, 0b00000000, // 9ème rangée de colones
                       0b00000000, 0b00000100  // Selection plan
                      };
    uint8_t pData3[] = {
                       0b00000000, 0b00000000, // 1ère rangée de colones
                       0b00000001, 0b11111111, // 2ème rangée de colones
                       0b00000000, 0b00000000, // 3ème rangée de colones
                       0b00000000, 0b00000000, // 4ème rangée de colones
                       0b00000000, 0b00000000, // 5ème rangée de colones
                       0b00000000, 0b00000000, // 6ème rangée de colones
                       0b00000000, 0b00000000, // 7ème rangée de colones
                       0b00000001, 0b11111111, // 8ème rangée de colones
                       0b00000000, 0b00000000, // 9ème rangée de colones
                       0b00000000, 0b00001000  // Selection plan
                      };
    uint8_t pData4[] = {
                       0b00000000, 0b00000000, // 1ère rangée de colones
                       0b00000001, 0b11111111, // 2ème rangée de colones
                       0b00000000, 0b00000000, // 3ème rangée de colones
                       0b00000000, 0b00000000, // 4ème rangée de colones
                       0b00000000, 0b00000000, // 5ème rangée de colones
                       0b00000000, 0b00000000, // 6ème rangée de colones
                       0b00000000, 0b00000000, // 7ème rangée de colones
                       0b00000001, 0b11111111, // 8ème rangée de colones
                       0b00000000, 0b00000000, // 9ème rangée de colones
                       0b00000000, 0b00010000  // Selection plan
                      };
    uint8_t pData5[] = {
                       0b00000000, 0b00000000, // 1ère rangée de colones
                       0b00000001, 0b11111111, // 2ème rangée de colones
                       0b00000000, 0b00000000, // 3ème rangée de colones
                       0b00000000, 0b00000000, // 4ème rangée de colones
                       0b00000000, 0b00000000, // 5ème rangée de colones
                       0b00000000, 0b00000000, // 6ème rangée de colones
                       0b00000000, 0b00000000, // 7ème rangée de colones
                       0b00000001, 0b11111111, // 8ème rangée de colones
                       0b00000000, 0b00000000, // 9ème rangée de colones
                       0b00000000, 0b00100000  // Selection plan
                      };
    uint8_t pData6[] = {
                       0b00000000, 0b00000000, // 1ère rangée de colones
                       0b00000000, 0b00000000, // 2ème rangée de colones
                       0b00000001, 0b11111111, // 3ème rangée de colones
                       0b00000000, 0b00000000, // 4ème rangée de colones
                       0b00000000, 0b00000000, // 5ème rangée de colones
                       0b00000000, 0b00000000, // 6ème rangée de colones
                       0b00000001, 0b11111111, // 7ème rangée de colones
                       0b00000000, 0b00000000, // 8ème rangée de colones
                       0b00000000, 0b00000000, // 9ème rangée de colones
                       0b00000000, 0b01000000  // Selection plan
                      };
    uint8_t pData7[] = {
                       0b00000000, 0b00000001, // 1ère rangée de colones
                       0b00000000, 0b00000001, // 2ème rangée de colones
                       0b00000000, 0b00000001, // 3ème rangée de colones
                       0b00000001, 0b11111111, // 4ème rangée de colones
                       0b00000001, 0b11111111, // 5ème rangée de colones
                       0b00000001, 0b11111111, // 6ème rangée de colones
                       0b00000000, 0b00000001, // 7ème rangée de colones
                       0b00000000, 0b00000001, // 8ème rangée de colones
                       0b00000000, 0b00000001, // 9ème rangée de colones
                       0b00000000, 0b10000000  // Selection plan
                      };
    uint8_t pData8[] = {
                       0b00000000, 0b00000000, // 1ère rangée de colones
                       0b00000000, 0b00000000, // 2ème rangée de colones
                       0b00000000, 0b00000000, // 3ème rangée de colones
                       0b00000001, 0b11111111, // 4ème rangée de colones
                       0b00000001, 0b11111111, // 5ème rangée de colones
                       0b00000001, 0b11111111, // 6ème rangée de colones
                       0b00000000, 0b00000000, // 7ème rangée de colones
                       0b00000000, 0b00000000, // 8ème rangée de colones
                       0b00000000, 0b00000000, // 9ème rangée de colones
                       0b00000001, 0b00000000  // Selection plan
                      };
  /* Infinite loop */
    uint8_t plan = 0;
    uint8_t* cercle[] = {pData0, pData1, pData2, pData3, pData4, pData5, pData6, pData7, pData8};
  for(;;)
  {
    HAL_StatusTypeDef status = HAL_SPI_Transmit(&hspi4, *(cercle+plan), 20, 15);
    while (status != HAL_OK)
        status = HAL_SPI_Transmit(&hspi4, *(cercle+plan), 20, 15);
    for (int i=0; i < 8000; i++) ;
    HAL_GPIO_WritePin(GPIOE, GPIO_PIN_3, GPIO_PIN_SET);
    for (int i=0; i < 8000; i++) ; // 40 tours de boucles == 3 µs
    HAL_GPIO_WritePin(GPIOE, GPIO_PIN_3, GPIO_PIN_RESET);
    plan = (plan + 1)%9;
    osDelay(10000);
  }
  /* USER CODE END StartTask02 */
}

/************************ (C) COPYRIGHT STMicroelectronics *****END OF FILE****/
